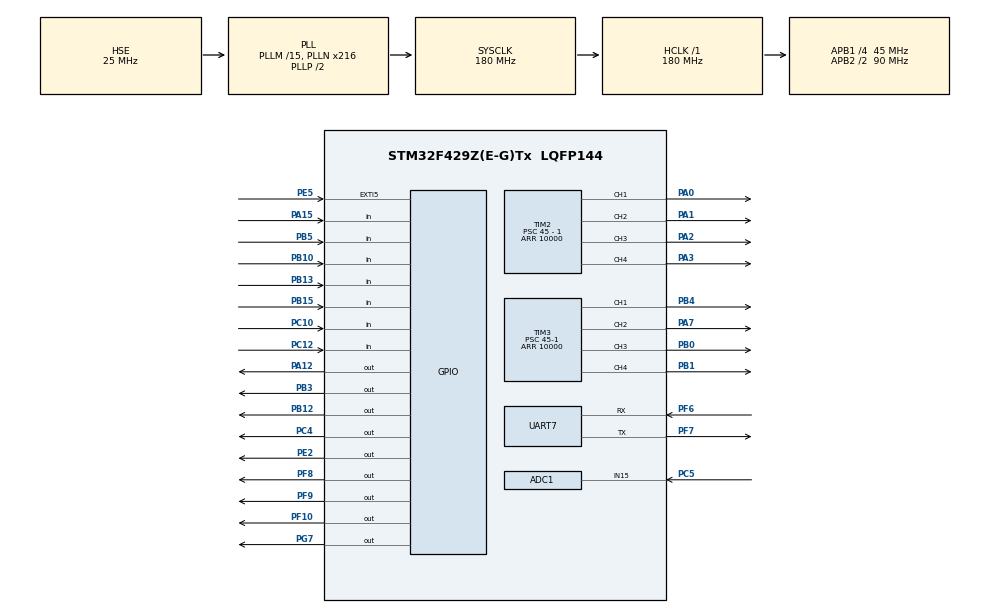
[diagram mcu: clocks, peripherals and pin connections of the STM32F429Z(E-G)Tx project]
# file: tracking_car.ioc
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ADC1.Channel-0\#ChannelRegularConversion=ADC_CHANNEL_15
ADC1.Channel-1\#ChannelInjectedConversion=ADC_CHANNEL_15
ADC1.InjNumberOfConversion=1
ADC1.InjectedOffset-1\#ChannelInjectedConversion=0
ADC1.InjectedRank-1\#ChannelInjectedConversion=1
ADC1.NbrOfConversionFlag=1
ADC1.Rank-0\#ChannelRegularConversion=1
ADC1.SamplingTime-0\#ChannelRegularConversion=ADC_SAMPLETIME_3CYCLES
ADC1.SamplingTime-1\#ChannelInjectedConversion=ADC_SAMPLETIME_3CYCLES
ADC1.master=1
FREERTOS.INCLUDE_eTaskGetState=1
FREERTOS.INCLUDE_pcTaskGetTaskName=1
FREERTOS.INCLUDE_uxTaskGetStackHighWaterMark=0
FREERTOS.INCLUDE_uxTaskGetStackHighWaterMark2=0
FREERTOS.INCLUDE_vTaskCleanUpResources=1
FREERTOS.INCLUDE_vTaskDelayUntil=1
FREERTOS.INCLUDE_xQueueGetMutexHolder=1
FREERTOS.INCLUDE_xSemaphoreGetMutexHolder=1
FREERTOS.INCLUDE_xTaskAbortDelay=1
FREERTOS.INCLUDE_xTaskGetCurrentTaskHandle=1
FREERTOS.INCLUDE_xTaskGetHandle=1
FREERTOS.Tasks01=defaultTask,0,128,StartDefaultTask,Default,NULL,Dynamic,NULL,NULL;ChassisTaskHand,-2,128,chassis_task,Default,NULL,Dynamic,NULL,NULL;LEDTaskHandle,0,128,led_task,Default,NULL,Dynamic,NULL,NULL;ADCTaskHandle,0,128,ADC_task,Default,NULL,Dynamic,NULL,NULL;SR04TaskHandle,-2,128,SR04_task,Default,NULL,Dynamic,NULL,NULL;WiFiTaskHandle,2,128,WiFi_task,Default,NULL,Dynamic,NULL,NULL
Mcu.Family=STM32F4
Mcu.Name=STM32F429Z(E-G)Tx
Mcu.Package=LQFP144
NVIC.EXTI9_5_IRQn=true\:5\:0\:false\:false\:true\:true\:true\:true\:true
NVIC.PriorityGroup=NVIC_PRIORITYGROUP_4
NVIC.UART7_IRQn=true\:5\:0\:false\:false\:true\:true\:true\:true\:true
PA0/WKUP.Signal=S_TIM2_CH1_ETR
PA1.Signal=S_TIM2_CH2
PA12.Signal=GPIO_Output
PA13.Mode=Serial_Wire
PA13.Signal=SYS_JTMS-SWDIO
PA14.Mode=Serial_Wire
PA14.Signal=SYS_JTCK-SWCLK
PA15.Signal=GPIO_Input
PA2.Signal=S_TIM2_CH3
PA3.Signal=S_TIM2_CH4
PA7.Signal=S_TIM3_CH2
PB0.Signal=S_TIM3_CH3
PB1.Signal=S_TIM3_CH4
PB10.GPIO_PuPd=GPIO_PULLDOWN
PB10.Signal=GPIO_Input
PB12.Signal=GPIO_Output
PB13.Signal=GPIO_Input
PB15.Signal=GPIO_Input
PB3.Signal=GPIO_Output
PB4.Signal=S_TIM3_CH1
PB5.Signal=GPIO_Input
PC10.Signal=GPIO_Input
PC12.Signal=GPIO_Input
PC4.Signal=GPIO_Output
PC5.Signal=ADCx_IN15
PE2.Signal=GPIO_Output
PE5.GPIO_ModeDefaultEXTI=GPIO_MODE_IT_RISING_FALLING
PE5.GPIO_PuPd=GPIO_PULLUP
PE5.Signal=GPXTI5
PF10.Signal=GPIO_Output
PF6.Mode=Asynchronous
PF6.Signal=UART7_RX
PF7.Mode=Asynchronous
PF7.Signal=UART7_TX
PF8.Signal=GPIO_Output
PF9.Signal=GPIO_Output
PG7.Signal=GPIO_Output
PH0/OSC_IN.Mode=HSE-External-Oscillator
PH0/OSC_IN.Signal=RCC_OSC_IN
PH1/OSC_OUT.Mode=HSE-External-Oscillator
PH1/OSC_OUT.Signal=RCC_OSC_OUT
ProjectManager.HeapSize=0x200
ProjectManager.StackSize=0x400
ProjectManager.TargetToolchain=MDK-ARM V5.32
RCC.48MHZClocksFreq_Value=90000000
RCC.AHBFreq_Value=180000000
RCC.APB1CLKDivider=RCC_HCLK_DIV4
RCC.APB1Freq_Value=45000000
RCC.APB1TimFreq_Value=90000000
RCC.APB2CLKDivider=RCC_HCLK_DIV2
RCC.APB2Freq_Value=90000000
RCC.APB2TimFreq_Value=180000000
RCC.CortexFreq_Value=180000000
RCC.HCLKFreq_Value=180000000
RCC.HSE_VALUE=25000000
RCC.HSI_VALUE=16000000
RCC.LSE_VALUE=32768
RCC.PLLM=15
RCC.PLLN=216
RCC.PLLSourceVirtual=RCC_PLLSOURCE_HSE
RCC.SYSCLKFreq_VALUE=180000000
RCC.SYSCLKSource=RCC_SYSCLKSOURCE_PLLCLK
RCC.VCOOutputFreq_Value=360000000
SH.ADCx_IN15.0=ADC1_IN15,IN15
SH.S_TIM2_CH1_ETR.0=TIM2_CH1,PWM Generation1 CH1
SH.S_TIM2_CH2.0=TIM2_CH2,PWM Generation2 CH2
SH.S_TIM2_CH3.0=TIM2_CH3,PWM Generation3 CH3
SH.S_TIM2_CH4.0=TIM2_CH4,PWM Generation4 CH4
SH.S_TIM3_CH1.0=TIM3_CH1,PWM Generation1 CH1
SH.S_TIM3_CH2.0=TIM3_CH2,PWM Generation2 CH2
SH.S_TIM3_CH3.0=TIM3_CH3,PWM Generation3 CH3
SH.S_TIM3_CH4.0=TIM3_CH4,PWM Generation4 CH4
TIM2.Channel-PWM\ Generation1\ CH1=TIM_CHANNEL_1
TIM2.Channel-PWM\ Generation2\ CH2=TIM_CHANNEL_2
TIM2.Channel-PWM\ Generation3\ CH3=TIM_CHANNEL_3
TIM2.Channel-PWM\ Generation4\ CH4=TIM_CHANNEL_4
TIM2.Period=10000
TIM2.Prescaler=45 - 1
TIM3.Channel-PWM\ Generation1\ CH1=TIM_CHANNEL_1
TIM3.Channel-PWM\ Generation2\ CH2=TIM_CHANNEL_2
TIM3.Channel-PWM\ Generation3\ CH3=TIM_CHANNEL_3
TIM3.Channel-PWM\ Generation4\ CH4=TIM_CHANNEL_4
TIM3.Period=10000
TIM3.Prescaler=45-1
UART7.VirtualMode=Asynchronous
VP_FREERTOS_VS_CMSIS_V1.Mode=CMSIS_V1
VP_TIM2_VS_ClockSourceINT.Mode=Internal
VP_TIM3_VS_ClockSourceINT.Mode=Internal
board=custom

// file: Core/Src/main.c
/* USER CODE BEGIN Header */
/**
  ******************************************************************************
  * @file           : main.c
  * @brief          : Main program body
  ******************************************************************************
  * @attention
  *
  * Copyright (c) 2024 STMicroelectronics.
  * All rights reserved.
  *
  * This software is licensed under terms that can be found in the LICENSE file
  * in the root directory of this software component.
  * If no LICENSE file comes with this software, it is provided AS-IS.
  *
  ******************************************************************************
  */
/* USER CODE END Header */
#include "main.h"
#include "cmsis_os.h"

/* USER CODE BEGIN Includes */
#include "Chassis.h"
/* USER CODE END Includes */

ADC_HandleTypeDef hadc1;

TIM_HandleTypeDef htim2;
TIM_HandleTypeDef htim3;

UART_HandleTypeDef huart7;

osThreadId defaultTaskHandle;
osThreadId ChassisTaskHandHandle;
osThreadId LEDTaskHandleHandle;
osThreadId ADCTaskHandleHandle;
osThreadId SR04TaskHandleHandle;
osThreadId WiFiTaskHandleHandle;

void SystemClock_Config(void);
static void MX_GPIO_Init(void);
static void MX_ADC1_Init(void);
static void MX_UART7_Init(void);
static void MX_TIM3_Init(void);
static void MX_TIM2_Init(void);
void StartDefaultTask(void const * argument);
void chassis_task(void const * argument);
void led_task(void const * argument);
void ADC_task(void const * argument);
void SR04_task(void const * argument);
void WiFi_task(void const * argument);

int main(void)
{

  /* MCU Configuration--------------------------------------------------------*/

  /* Reset of all peripherals, Initializes the Flash interface and the Systick. */
  HAL_Init();

  /* Configure the system clock */
  SystemClock_Config();

  /* USER CODE BEGIN SysInit */
	//SysTick_Config(SystemCoreClock);
  /* USER CODE END SysInit */

  /* Initialize all configured peripherals */
  MX_GPIO_Init();
  MX_ADC1_Init();
  MX_UART7_Init();
  MX_TIM3_Init();
  MX_TIM2_Init();
  /* USER CODE BEGIN 2 */
	HAL_TIM_PWM_Start(&htim2,TIM_CHANNEL_1);
	HAL_TIM_PWM_Start(&htim2,TIM_CHANNEL_2);
	HAL_TIM_PWM_Start(&htim2,TIM_CHANNEL_3);
	HAL_TIM_PWM_Start(&htim2,TIM_CHANNEL_4);

	HAL_TIM_PWM_Start(&htim3,TIM_CHANNEL_1);
	HAL_TIM_PWM_Start(&htim3,TIM_CHANNEL_2);
	HAL_TIM_PWM_Start(&htim3,TIM_CHANNEL_3);
	HAL_TIM_PWM_Start(&htim3,TIM_CHANNEL_4);

	Car_Init();
  /* USER CODE END 2 */

  /* Create the thread(s) */
  /* definition and creation of defaultTask */
  osThreadDef(defaultTask, StartDefaultTask, osPriorityNormal, 0, 128);
  defaultTaskHandle = osThreadCreate(osThread(defaultTask), NULL);

  /* definition and creation of ChassisTaskHand */
  osThreadDef(ChassisTaskHand, chassis_task, osPriorityLow, 0, 128);
  ChassisTaskHandHandle = osThreadCreate(osThread(ChassisTaskHand), NULL);

  /* definition and creation of LEDTaskHandle */

  /* definition and creation of ADCTaskHandle */
  //osThreadDef(ADCTaskHandle, ADC_task, osPriorityNormal, 0, 128);
  //ADCTaskHandleHandle = osThreadCreate(osThread(ADCTaskHandle), NULL);

  /* definition and creation of SR04TaskHandle */
  osThreadDef(SR04TaskHandle, SR04_task, osPriorityLow, 0, 128);
  SR04TaskHandleHandle = osThreadCreate(osThread(SR04TaskHandle), NULL);

  /* definition and creation of WiFiTaskHandle */
  osThreadDef(WiFiTaskHandle, WiFi_task, osPriorityHigh, 0, 128);
  WiFiTaskHandleHandle = osThreadCreate(osThread(WiFiTaskHandle), NULL);

  /* Start scheduler */
  osKernelStart();

  /* We should never get here as control is now taken by the scheduler */
  /* Infinite loop */
  while (1)
  {

    /* USER CODE BEGIN 3 */
		HAL_Delay(1);
  }
  /* USER CODE END 3 */
}

void SystemClock_Config(void)
{
  RCC_OscInitTypeDef RCC_OscInitStruct = {0};
  RCC_ClkInitTypeDef RCC_ClkInitStruct = {0};

  /** Configure the main internal regulator output voltage
  */
  __HAL_RCC_PWR_CLK_ENABLE();
  __HAL_PWR_VOLTAGESCALING_CONFIG(PWR_REGULATOR_VOLTAGE_SCALE1);

  /** Initializes the RCC Oscillators according to the specified parameters
  * in the RCC_OscInitTypeDef structure.
  */
  RCC_OscInitStruct.OscillatorType = RCC_OSCILLATORTYPE_HSE;
  RCC_OscInitStruct.HSEState = RCC_HSE_ON;
  RCC_OscInitStruct.PLL.PLLState = RCC_PLL_ON;
  RCC_OscInitStruct.PLL.PLLSource = RCC_PLLSOURCE_HSE;
  RCC_OscInitStruct.PLL.PLLM = 15;
  RCC_OscInitStruct.PLL.PLLN = 216;
  RCC_OscInitStruct.PLL.PLLP = RCC_PLLP_DIV2;
  RCC_OscInitStruct.PLL.PLLQ = 4;
  if (HAL_RCC_OscConfig(&RCC_OscInitStruct) != HAL_OK)
  {
    Error_Handler();
  }

  /** Activate the Over-Drive mode
  */
  if (HAL_PWREx_EnableOverDrive() != HAL_OK)
  {
    Error_Handler();
  }

  /** Initializes the CPU, AHB and APB buses clocks
  */
  RCC_ClkInitStruct.ClockType = RCC_CLOCKTYPE_HCLK|RCC_CLOCKTYPE_SYSCLK
                              |RCC_CLOCKTYPE_PCLK1|RCC_CLOCKTYPE_PCLK2;
  RCC_ClkInitStruct.SYSCLKSource = RCC_SYSCLKSOURCE_PLLCLK;
  RCC_ClkInitStruct.AHBCLKDivider = RCC_SYSCLK_DIV1;
  RCC_ClkInitStruct.APB1CLKDivider = RCC_HCLK_DIV4;
  RCC_ClkInitStruct.APB2CLKDivider = RCC_HCLK_DIV2;

  if (HAL_RCC_ClockConfig(&RCC_ClkInitStruct, FLASH_LATENCY_5) != HAL_OK)
  {
    Error_Handler();
  }
}

static void MX_ADC1_Init(void)
{

  ADC_ChannelConfTypeDef sConfig = {0};
  ADC_InjectionConfTypeDef sConfigInjected = {0};

  /** Configure the global features of the ADC (Clock, Resolution, Data Alignment and number of conversion)
  */
  hadc1.Instance = ADC1;
  hadc1.Init.ClockPrescaler = ADC_CLOCK_SYNC_PCLK_DIV4;
  hadc1.Init.Resolution = ADC_RESOLUTION_12B;
  hadc1.Init.ScanConvMode = DISABLE;
  hadc1.Init.ContinuousConvMode = DISABLE;
  hadc1.Init.DiscontinuousConvMode = DISABLE;
  hadc1.Init.ExternalTrigConvEdge = ADC_EXTERNALTRIGCONVEDGE_NONE;
  hadc1.Init.ExternalTrigConv = ADC_SOFTWARE_START;
  hadc1.Init.DataAlign = ADC_DATAALIGN_RIGHT;
  hadc1.Init.NbrOfConversion = 1;
  hadc1.Init.DMAContinuousRequests = DISABLE;
  hadc1.Init.EOCSelection = ADC_EOC_SINGLE_CONV;
  if (HAL_ADC_Init(&hadc1) != HAL_OK)
  {
    Error_Handler();
  }

  /** Configure for the selected ADC regular channel its corresponding rank in the sequencer and its sample time.
  */
  sConfig.Channel = ADC_CHANNEL_15;
  sConfig.Rank = 1;
  sConfig.SamplingTime = ADC_SAMPLETIME_3CYCLES;
  if (HAL_ADC_ConfigChannel(&hadc1, &sConfig) != HAL_OK)
  {
    Error_Handler();
  }

  /** Configures for the selected ADC injected channel its corresponding rank in the sequencer and its sample time
  */
  sConfigInjected.InjectedChannel = ADC_CHANNEL_15;
  sConfigInjected.InjectedRank = 1;
  sConfigInjected.InjectedNbrOfConversion = 1;
  sConfigInjected.InjectedSamplingTime = ADC_SAMPLETIME_3CYCLES;
  sConfigInjected.ExternalTrigInjecConvEdge = ADC_EXTERNALTRIGINJECCONVEDGE_NONE;
  sConfigInjected.ExternalTrigInjecConv = ADC_INJECTED_SOFTWARE_START;
  sConfigInjected.AutoInjectedConv = DISABLE;
  sConfigInjected.InjectedDiscontinuousConvMode = DISABLE;
  sConfigInjected.InjectedOffset = 0;
  if (HAL_ADCEx_InjectedConfigChannel(&hadc1, &sConfigInjected) != HAL_OK)
  {
    Error_Handler();
  }

}

static void MX_TIM2_Init(void)
{

  TIM_ClockConfigTypeDef sClockSourceConfig = {0};
  TIM_MasterConfigTypeDef sMasterConfig = {0};
  TIM_OC_InitTypeDef sConfigOC = {0};

  htim2.Instance = TIM2;
  htim2.Init.Prescaler = 45 - 1;
  htim2.Init.CounterMode = TIM_COUNTERMODE_UP;
  htim2.Init.Period = 10000;
  htim2.Init.ClockDivision = TIM_CLOCKDIVISION_DIV1;
  htim2.Init.AutoReloadPreload = TIM_AUTORELOAD_PRELOAD_DISABLE;
  if (HAL_TIM_Base_Init(&htim2) != HAL_OK)
  {
    Error_Handler();
  }
  sClockSourceConfig.ClockSource = TIM_CLOCKSOURCE_INTERNAL;
  if (HAL_TIM_ConfigClockSource(&htim2, &sClockSourceConfig) != HAL_OK)
  {
    Error_Handler();
  }
  if (HAL_TIM_PWM_Init(&htim2) != HAL_OK)
  {
    Error_Handler();
  }
  sMasterConfig.MasterOutputTrigger = TIM_TRGO_RESET;
  sMasterConfig.MasterSlaveMode = TIM_MASTERSLAVEMODE_DISABLE;
  if (HAL_TIMEx_MasterConfigSynchronization(&htim2, &sMasterConfig) != HAL_OK)
  {
    Error_Handler();
  }
  sConfigOC.OCMode = TIM_OCMODE_PWM1;
  sConfigOC.Pulse = 0;
  sConfigOC.OCPolarity = TIM_OCPOLARITY_HIGH;
  sConfigOC.OCFastMode = TIM_OCFAST_DISABLE;
  if (HAL_TIM_PWM_ConfigChannel(&htim2, &sConfigOC, TIM_CHANNEL_1) != HAL_OK)
  {
    Error_Handler();
  }
  if (HAL_TIM_PWM_ConfigChannel(&htim2, &sConfigOC, TIM_CHANNEL_2) != HAL_OK)
  {
    Error_Handler();
  }
  if (HAL_TIM_PWM_ConfigChannel(&htim2, &sConfigOC, TIM_CHANNEL_3) != HAL_OK)
  {
    Error_Handler();
  }
  if (HAL_TIM_PWM_ConfigChannel(&htim2, &sConfigOC, TIM_CHANNEL_4) != HAL_OK)
  {
    Error_Handler();
  }
  HAL_TIM_MspPostInit(&htim2);

}

static void MX_TIM3_Init(void)
{

  TIM_ClockConfigTypeDef sClockSourceConfig = {0};
  TIM_MasterConfigTypeDef sMasterConfig = {0};
  TIM_OC_InitTypeDef sConfigOC = {0};

  htim3.Instance = TIM3;
  htim3.Init.Prescaler = 45-1;
  htim3.Init.CounterMode = TIM_COUNTERMODE_UP;
  htim3.Init.Period = 10000;
  htim3.Init.ClockDivision = TIM_CLOCKDIVISION_DIV1;
  htim3.Init.AutoReloadPreload = TIM_AUTORELOAD_PRELOAD_DISABLE;
  if (HAL_TIM_Base_Init(&htim3) != HAL_OK)
  {
    Error_Handler();
  }
  sClockSourceConfig.ClockSource = TIM_CLOCKSOURCE_INTERNAL;
  if (HAL_TIM_ConfigClockSource(&htim3, &sClockSourceConfig) != HAL_OK)
  {
    Error_Handler();
  }
  if (HAL_TIM_PWM_Init(&htim3) != HAL_OK)
  {
    Error_Handler();
  }
  sMasterConfig.MasterOutputTrigger = TIM_TRGO_RESET;
  sMasterConfig.MasterSlaveMode = TIM_MASTERSLAVEMODE_DISABLE;
  if (HAL_TIMEx_MasterConfigSynchronization(&htim3, &sMasterConfig) != HAL_OK)
  {
    Error_Handler();
  }
  sConfigOC.OCMode = TIM_OCMODE_PWM1;
  sConfigOC.Pulse = 0;
  sConfigOC.OCPolarity = TIM_OCPOLARITY_HIGH;
  sConfigOC.OCFastMode = TIM_OCFAST_DISABLE;
  if (HAL_TIM_PWM_ConfigChannel(&htim3, &sConfigOC, TIM_CHANNEL_1) != HAL_OK)
  {
    Error_Handler();
  }
  if (HAL_TIM_PWM_ConfigChannel(&htim3, &sConfigOC, TIM_CHANNEL_2) != HAL_OK)
  {
    Error_Handler();
  }
  if (HAL_TIM_PWM_ConfigChannel(&htim3, &sConfigOC, TIM_CHANNEL_3) != HAL_OK)
  {
    Error_Handler();
  }
  if (HAL_TIM_PWM_ConfigChannel(&htim3, &sConfigOC, TIM_CHANNEL_4) != HAL_OK)
  {
    Error_Handler();
  }
  HAL_TIM_MspPostInit(&htim3);

}

static void MX_UART7_Init(void)
{

  huart7.Instance = UART7;
  huart7.Init.BaudRate = 115200;
  huart7.Init.WordLength = UART_WORDLENGTH_8B;
  huart7.Init.StopBits = UART_STOPBITS_1;
  huart7.Init.Parity = UART_PARITY_NONE;
  huart7.Init.Mode = UART_MODE_TX_RX;
  huart7.Init.HwFlowCtl = UART_HWCONTROL_NONE;
  huart7.Init.OverSampling = UART_OVERSAMPLING_16;
  if (HAL_UART_Init(&huart7) != HAL_OK)
  {
    Error_Handler();
  }

}

static void MX_GPIO_Init(void)
{
  GPIO_InitTypeDef GPIO_InitStruct = {0};

  /* GPIO Ports Clock Enable */
  __HAL_RCC_GPIOE_CLK_ENABLE();
  __HAL_RCC_GPIOF_CLK_ENABLE();
  __HAL_RCC_GPIOH_CLK_ENABLE();
  __HAL_RCC_GPIOA_CLK_ENABLE();
  __HAL_RCC_GPIOC_CLK_ENABLE();
  __HAL_RCC_GPIOB_CLK_ENABLE();
  __HAL_RCC_GPIOG_CLK_ENABLE();

  /*Configure GPIO pin Output Level */
  HAL_GPIO_WritePin(GPIOE, GPIO_PIN_2, GPIO_PIN_RESET);

  /*Configure GPIO pin Output Level */
  HAL_GPIO_WritePin(GPIOF, GPIO_PIN_8|GPIO_PIN_9|GPIO_PIN_10, GPIO_PIN_RESET);

  /*Configure GPIO pin Output Level */
  HAL_GPIO_WritePin(GPIOC, GPIO_PIN_4, GPIO_PIN_RESET);

  /*Configure GPIO pin Output Level */
  HAL_GPIO_WritePin(GPIOB, GPIO_PIN_12|GPIO_PIN_3, GPIO_PIN_RESET);

  /*Configure GPIO pin Output Level */
  HAL_GPIO_WritePin(GPIOG, GPIO_PIN_7, GPIO_PIN_RESET);

  /*Configure GPIO pin Output Level */
  HAL_GPIO_WritePin(GPIOA, GPIO_PIN_12, GPIO_PIN_RESET);

  /*Configure GPIO pin : PE2 */
  GPIO_InitStruct.Pin = GPIO_PIN_2;
  GPIO_InitStruct.Mode = GPIO_MODE_OUTPUT_PP;
  GPIO_InitStruct.Pull = GPIO_NOPULL;
  GPIO_InitStruct.Speed = GPIO_SPEED_FREQ_LOW;
  HAL_GPIO_Init(GPIOE, &GPIO_InitStruct);

  /*Configure GPIO pin : PE5 */
  GPIO_InitStruct.Pin = GPIO_PIN_5;
  GPIO_InitStruct.Mode = GPIO_MODE_IT_RISING_FALLING;
  GPIO_InitStruct.Pull = GPIO_PULLUP;
  HAL_GPIO_Init(GPIOE, &GPIO_InitStruct);

  /*Configure GPIO pins : PF8 PF9 PF10 */
  GPIO_InitStruct.Pin = GPIO_PIN_8|GPIO_PIN_9|GPIO_PIN_10;
  GPIO_InitStruct.Mode = GPIO_MODE_OUTPUT_PP;
  GPIO_InitStruct.Pull = GPIO_NOPULL;
  GPIO_InitStruct.Speed = GPIO_SPEED_FREQ_LOW;
  HAL_GPIO_Init(GPIOF, &GPIO_InitStruct);

  /*Configure GPIO pin : PC4 */
  GPIO_InitStruct.Pin = GPIO_PIN_4;
  GPIO_InitStruct.Mode = GPIO_MODE_OUTPUT_PP;
  GPIO_InitStruct.Pull = GPIO_NOPULL;
  GPIO_InitStruct.Speed = GPIO_SPEED_FREQ_LOW;
  HAL_GPIO_Init(GPIOC, &GPIO_InitStruct);

  /*Configure GPIO pin : PB10 */
  GPIO_InitStruct.Pin = GPIO_PIN_10;
  GPIO_InitStruct.Mode = GPIO_MODE_INPUT;
  GPIO_InitStruct.Pull = GPIO_PULLDOWN;
  HAL_GPIO_Init(GPIOB, &GPIO_InitStruct);

  /*Configure GPIO pins : PB12 PB3 */
  GPIO_InitStruct.Pin = GPIO_PIN_12|GPIO_PIN_3;
  GPIO_InitStruct.Mode = GPIO_MODE_OUTPUT_PP;
  GPIO_InitStruct.Pull = GPIO_NOPULL;
  GPIO_InitStruct.Speed = GPIO_SPEED_FREQ_LOW;
  HAL_GPIO_Init(GPIOB, &GPIO_InitStruct);

  /*Configure GPIO pins : PB13 PB15 PB5 */
  GPIO_InitStruct.Pin = GPIO_PIN_13|GPIO_PIN_15|GPIO_PIN_5;
  GPIO_InitStruct.Mode = GPIO_MODE_INPUT;
  GPIO_InitStruct.Pull = GPIO_NOPULL;
  HAL_GPIO_Init(GPIOB, &GPIO_InitStruct);

  /*Configure GPIO pin : PG7 */
  GPIO_InitStruct.Pin = GPIO_PIN_7;
  GPIO_InitStruct.Mode = GPIO_MODE_OUTPUT_PP;
  GPIO_InitStruct.Pull = GPIO_NOPULL;
  GPIO_InitStruct.Speed = GPIO_SPEED_FREQ_LOW;
  HAL_GPIO_Init(GPIOG, &GPIO_InitStruct);

  /*Configure GPIO pin : PA12 */
  GPIO_InitStruct.Pin = GPIO_PIN_12;
  GPIO_InitStruct.Mode = GPIO_MODE_OUTPUT_PP;
  GPIO_InitStruct.Pull = GPIO_NOPULL;
  GPIO_InitStruct.Speed = GPIO_SPEED_FREQ_LOW;
  HAL_GPIO_Init(GPIOA, &GPIO_InitStruct);

  /*Configure GPIO pin : PA15 */
  GPIO_InitStruct.Pin = GPIO_PIN_15;
  GPIO_InitStruct.Mode = GPIO_MODE_INPUT;
  GPIO_InitStruct.Pull = GPIO_NOPULL;
  HAL_GPIO_Init(GPIOA, &GPIO_InitStruct);

  /*Configure GPIO pins : PC10 PC12 */
  GPIO_InitStruct.Pin = GPIO_PIN_10|GPIO_PIN_12;
  GPIO_InitStruct.Mode = GPIO_MODE_INPUT;
  GPIO_InitStruct.Pull = GPIO_NOPULL;
  HAL_GPIO_Init(GPIOC, &GPIO_InitStruct);

  /* EXTI interrupt init*/
  HAL_NVIC_SetPriority(EXTI9_5_IRQn, 5, 0);
  HAL_NVIC_EnableIRQ(EXTI9_5_IRQn);

}

/* USER CODE BEGIN 4 */

void Car_Init()
{
	HAL_GPIO_WritePin(GPIOA, GPIO_PIN_12, GPIO_PIN_SET);//LED_L
	HAL_GPIO_WritePin(GPIOG, GPIO_PIN_7, GPIO_PIN_SET);//LED_R
	HAL_GPIO_WritePin(GPIOF, GPIO_PIN_8, GPIO_PIN_SET);//BUZZER

	//MOTOR
	HAL_GPIO_WritePin(GPIOA, GPIO_PIN_7, GPIO_PIN_RESET);//LQ+
	HAL_GPIO_WritePin(GPIOB, GPIO_PIN_4, GPIO_PIN_RESET);//LQ-

	HAL_GPIO_WritePin(GPIOB, GPIO_PIN_0, GPIO_PIN_RESET);//LH+
	HAL_GPIO_WritePin(GPIOB, GPIO_PIN_1, GPIO_PIN_RESET);//LH-

	HAL_GPIO_WritePin(GPIOA, GPIO_PIN_1, GPIO_PIN_RESET);//RH+
	HAL_GPIO_WritePin(GPIOA, GPIO_PIN_0, GPIO_PIN_RESET);//RH-

	HAL_GPIO_WritePin(GPIOA, GPIO_PIN_3, GPIO_PIN_RESET);//RQ+
	HAL_GPIO_WritePin(GPIOA, GPIO_PIN_2, GPIO_PIN_RESET);//RQ-
}
/* USER CODE END 4 */

void StartDefaultTask(void const * argument)
{
  for(;;)
  {
    osDelay(1);
  }
}

__weak void chassis_task(void const * argument)
{
  for(;;)
  {
    osDelay(1);
  }
}

__weak void led_task(void const * argument)
{
  for(;;)
  {
    osDelay(1);
  }
}

__weak void ADC_task(void const * argument)
{
  for(;;)
  {
    osDelay(1);
  }
}

__weak void SR04_task(void const * argument)
{
  for(;;)
  {
    osDelay(1);
  }
}

__weak void WiFi_task(void const * argument)
{
  for(;;)
  {
    osDelay(1);
  }
}

void Error_Handler(void)
{
  __disable_irq();
  while (1)
  {
  }
}

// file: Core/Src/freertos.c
/* USER CODE BEGIN Header */
/**
  ******************************************************************************
  * File Name          : freertos.c
  * Description        : Code for freertos applications
  ******************************************************************************
  * @attention
  *
  * Copyright (c) 2024 STMicroelectronics.
  * All rights reserved.
  *
  * This software is licensed under terms that can be found in the LICENSE file
  * in the root directory of this software component.
  * If no LICENSE file comes with this software, it is provided AS-IS.
  *
  ******************************************************************************
  */
/* USER CODE END Header */

#include "FreeRTOS.h"
#include "task.h"
#include "main.h"

/* USER CODE BEGIN Includes */
#include "cmsis_os.h"
/* USER CODE END Includes */

/* USER CODE BEGIN Variables */
osThreadId ChassisTaskHandle;
osThreadId LEDTaskHandle;
osThreadId ADCTaskHandle;
osThreadId SR04TaskHandle;
osThreadId WiFiTaskHandle;
/* USER CODE END Variables */

/* USER CODE BEGIN FunctionPrototypes */
void chassis_task(void const * argument);
void led_task(void const * argument);
void ADC_task(void const * argument);
void SR04_task(void const * argument);
void WiFi_task(void const * argument);
/* USER CODE END FunctionPrototypes */

/* GetIdleTaskMemory prototype (linked to static allocation support) */
void vApplicationGetIdleTaskMemory( StaticTask_t **ppxIdleTaskTCBBuffer, StackType_t **ppxIdleTaskStackBuffer, uint32_t *pulIdleTaskStackSize );

/* USER CODE BEGIN GET_IDLE_TASK_MEMORY */
static StaticTask_t xIdleTaskTCBBuffer;
static StackType_t xIdleStack[configMINIMAL_STACK_SIZE];

void vApplicationGetIdleTaskMemory( StaticTask_t **ppxIdleTaskTCBBuffer, StackType_t **ppxIdleTaskStackBuffer, uint32_t *pulIdleTaskStackSize )
{
  *ppxIdleTaskTCBBuffer = &xIdleTaskTCBBuffer;
  *ppxIdleTaskStackBuffer = &xIdleStack[0];
  *pulIdleTaskStackSize = configMINIMAL_STACK_SIZE;
  /* place for user code */
}
/* USER CODE END GET_IDLE_TASK_MEMORY */
